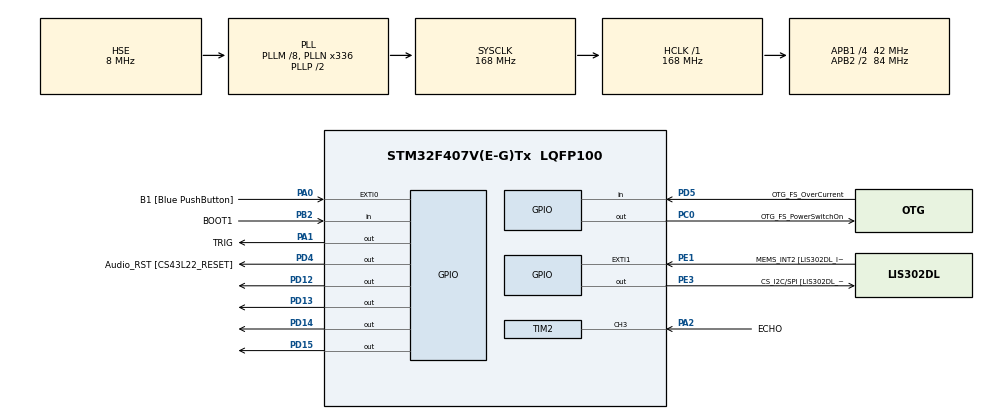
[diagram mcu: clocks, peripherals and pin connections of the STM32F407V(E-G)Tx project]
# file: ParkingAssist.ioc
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IWDG.Prescaler=IWDG_PRESCALER_32
IWDG.Reload=499
Mcu.Family=STM32F4
Mcu.Name=STM32F407V(E-G)Tx
Mcu.Package=LQFP100
NVIC.PriorityGroup=NVIC_PRIORITYGROUP_0
NVIC.TIM2_IRQn=true\:0\:0\:false\:false\:true\:true\:true\:true
PA0-WKUP.GPIO_Label=B1 [Blue PushButton]
PA0-WKUP.Signal=GPXTI0
PA1.GPIO_Label=TRIG
PA1.Signal=GPIO_Output
PA10.GPIO_Label=OTG_FS_ID
PA10.GPIO_Mode=GPIO_MODE_AF_PP
PA10.GPIO_PuPd=GPIO_NOPULL
PA10.GPIO_Speed=GPIO_SPEED_FREQ_LOW
PA10.Signal=USB_OTG_FS_ID
PA11.GPIO_Label=OTG_FS_DM
PA11.GPIO_Mode=GPIO_MODE_AF_PP
PA11.GPIO_PuPd=GPIO_NOPULL
PA11.GPIO_Speed=GPIO_SPEED_FREQ_LOW
PA11.Signal=USB_OTG_FS_DM
PA12.GPIO_Label=OTG_FS_DP
PA12.GPIO_Mode=GPIO_MODE_AF_PP
PA12.GPIO_PuPd=GPIO_NOPULL
PA12.GPIO_Speed=GPIO_SPEED_FREQ_LOW
PA12.Signal=USB_OTG_FS_DP
PA13.GPIO_Label=SWDIO
PA13.Signal=SYS_JTMS-SWDIO
PA14.GPIO_Label=SWCLK
PA14.Signal=SYS_JTCK-SWCLK
PA2.GPIO_Label=ECHO
PA2.Signal=S_TIM2_CH3
PA4.GPIO_Label=I2S3_WS [CS43L22_LRCK]
PA4.GPIO_Mode=GPIO_MODE_AF_PP
PA4.GPIO_PuPd=GPIO_NOPULL
PA4.GPIO_Speed=GPIO_SPEED_FREQ_LOW
PA4.Signal=I2S3_WS
PA5.GPIO_Label=SPI1_SCK [LIS302DL_SCL/SPC]
PA5.GPIO_Mode=GPIO_MODE_AF_PP
PA5.GPIO_PuPd=GPIO_NOPULL
PA5.GPIO_Speed=GPIO_SPEED_FREQ_LOW
PA5.Signal=SPI1_SCK
PA6.GPIO_Label=SPI1_MISO [LIS302DL_SDO]
PA6.GPIO_Mode=GPIO_MODE_AF_PP
PA6.GPIO_PuPd=GPIO_NOPULL
PA6.GPIO_Speed=GPIO_SPEED_FREQ_LOW
PA6.Signal=SPI1_MISO
PA7.GPIO_Label=SPI1_MOSI [LIS302DL_SDA/SDI/SDO]
PA7.GPIO_Mode=GPIO_MODE_AF_PP
PA7.GPIO_PuPd=GPIO_NOPULL
PA7.GPIO_Speed=GPIO_SPEED_FREQ_LOW
PA7.Signal=SPI1_MOSI
PA9.GPIO_Label=VBUS_FS
PA9.GPIO_Mode=GPIO_MODE_INPUT
PA9.GPIO_PuPd=GPIO_NOPULL
PA9.Signal=USB_OTG_FS_VBUS
PB10.GPIO_Label=CLK_IN [MP45DT02_CLK]
PB10.GPIO_Mode=GPIO_MODE_AF_PP
PB10.GPIO_PuPd=GPIO_NOPULL
PB10.GPIO_Speed=GPIO_SPEED_FREQ_LOW
PB10.Signal=I2S2_CK
PB2.GPIO_Label=BOOT1
PB2.GPIO_Mode=GPIO_MODE_INPUT
PB2.GPIO_PuPd=GPIO_NOPULL
PB2.Signal=GPIO_Input
PB3.Signal=SYS_JTDO-SWO
PB6.GPIO_Label=Audio_SCL [CS43L22_SCL]
PB6.GPIO_Mode=GPIO_MODE_AF_OD
PB6.GPIO_PuPd=GPIO_NOPULL
PB6.GPIO_Speed=GPIO_SPEED_FREQ_LOW
PB6.Signal=I2C1_SCL
PB9.GPIO_Label=Audio_SDA [CS43L22_SDA]
PB9.GPIO_Mode=GPIO_MODE_AF_OD
PB9.GPIO_PuPd=GPIO_NOPULL
PB9.GPIO_Speed=GPIO_SPEED_FREQ_LOW
PB9.Signal=I2C1_SDA
PC0.GPIO_Label=OTG_FS_PowerSwitchOn
PC0.GPIO_PuPd=GPIO_NOPULL
PC0.GPIO_Speed=GPIO_SPEED_FREQ_LOW
PC0.PinState=GPIO_PIN_SET
PC0.Signal=GPIO_Output
PC10.GPIO_Label=I2S3_SCK [CS43L22_SCLK]
PC10.GPIO_Mode=GPIO_MODE_AF_PP
PC10.GPIO_PuPd=GPIO_NOPULL
PC10.GPIO_Speed=GPIO_SPEED_FREQ_LOW
PC10.Signal=I2S3_CK
PC12.GPIO_Label=I2S3_SD [CS43L22_SDIN]
PC12.GPIO_Mode=GPIO_MODE_AF_PP
PC12.GPIO_PuPd=GPIO_NOPULL
PC12.GPIO_Speed=GPIO_SPEED_FREQ_LOW
PC12.Signal=I2S3_SD
PC14-OSC32_IN.GPIO_Label=PC14-OSC32_IN
PC14-OSC32_IN.Signal=RCC_OSC32_IN
PC15-OSC32_OUT.GPIO_Label=PC15-OSC32_OUT
PC15-OSC32_OUT.Signal=RCC_OSC32_OUT
PC3.GPIO_Label=PDM_OUT [MP45DT02_DOUT]
PC3.GPIO_Mode=GPIO_MODE_AF_PP
PC3.GPIO_PuPd=GPIO_NOPULL
PC3.GPIO_Speed=GPIO_SPEED_FREQ_LOW
PC3.Signal=I2S2_SD
PC7.GPIO_Label=I2S3_MCK [CS43L22_MCLK]
PC7.GPIO_Mode=GPIO_MODE_AF_PP
PC7.GPIO_PuPd=GPIO_NOPULL
PC7.GPIO_Speed=GPIO_SPEED_FREQ_LOW
PC7.Signal=I2S3_MCK
PD12.Signal=GPIO_Output
PD13.Signal=GPIO_Output
PD14.Signal=GPIO_Output
PD15.Signal=GPIO_Output
PD4.GPIO_Label=Audio_RST [CS43L22_RESET]
PD4.GPIO_PuPd=GPIO_NOPULL
PD4.GPIO_Speed=GPIO_SPEED_FREQ_LOW
PD4.Signal=GPIO_Output
PD5.GPIO_Label=OTG_FS_OverCurrent
PD5.GPIO_Mode=GPIO_MODE_INPUT
PD5.GPIO_PuPd=GPIO_NOPULL
PD5.Signal=GPIO_Input
PE1.GPIO_Label=MEMS_INT2 [LIS302DL_INT2]
PE1.GPIO_ModeDefaultEXTI=GPIO_MODE_EVT_RISING
PE1.GPIO_PuPd=GPIO_NOPULL
PE1.Signal=GPXTI1
PE3.GPIO_Label=CS_I2C/SPI [LIS302DL_CS_I2C/SPI]
PE3.GPIO_PuPd=GPIO_NOPULL
PE3.GPIO_Speed=GPIO_SPEED_FREQ_LOW
PE3.Signal=GPIO_Output
PH0-OSC_IN.GPIO_Label=PH0-OSC_IN
PH0-OSC_IN.Mode=HSE-External-Oscillator
PH0-OSC_IN.Signal=RCC_OSC_IN
PH1-OSC_OUT.GPIO_Label=PH1-OSC_OUT
PH1-OSC_OUT.Mode=HSE-External-Oscillator
PH1-OSC_OUT.Signal=RCC_OSC_OUT
ProjectManager.HeapSize=0x200
ProjectManager.StackSize=0x400
ProjectManager.TargetToolchain=STM32CubeIDE
RCC.48MHZClocksFreq_Value=48000000
RCC.AHBFreq_Value=168000000
RCC.APB1CLKDivider=RCC_HCLK_DIV4
RCC.APB1Freq_Value=42000000
RCC.APB1TimFreq_Value=84000000
RCC.APB2CLKDivider=RCC_HCLK_DIV2
RCC.APB2Freq_Value=84000000
RCC.APB2TimFreq_Value=168000000
RCC.CortexFreq_Value=168000000
RCC.HCLKFreq_Value=168000000
RCC.HSE_VALUE=8000000
RCC.HSI_VALUE=16000000
RCC.LSE_VALUE=32768
RCC.PLLM=8
RCC.PLLN=336
RCC.PLLQ=7
RCC.PLLSourceVirtual=RCC_PLLSOURCE_HSE
RCC.SYSCLKFreq_VALUE=168000000
RCC.SYSCLKSource=RCC_SYSCLKSOURCE_PLLCLK
RCC.VCOOutputFreq_Value=336000000
SH.S_TIM2_CH3.0=TIM2_CH3,Input_Capture3_from_TI3
TIM2.Channel-Input_Capture3_from_TI3=TIM_CHANNEL_3
TIM2.ICPolarity_CH3=TIM_INPUTCHANNELPOLARITY_BOTHEDGE
TIM2.Period=0xFFFFFFFF
TIM2.Prescaler=83
VP_IWDG_VS_IWDG.Mode=IWDG_Activate
VP_TIM2_VS_ClockSourceINT.Mode=Internal
board=STM32F407G-DISC1

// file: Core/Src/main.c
/* USER CODE BEGIN Header */
/**
 ******************************************************************************
 * @file           : main.c
 * @brief          : Main program body
 ******************************************************************************
 * @attention
 *
 * Copyright (c) 2026 STMicroelectronics.
 * All rights reserved.
 *
 * This software is licensed under terms that can be found in the LICENSE file
 * in the root directory of this software component.
 * If no LICENSE file comes with this software, it is provided AS-IS.
 *
 ******************************************************************************
 */
/* USER CODE END Header */
#include "main.h"

/* USER CODE BEGIN Includes */
#include <stdio.h>
#include "park_logic.h"
#include "leds.h"
#include "status.h"
#include "hcsr04_sensor.h"

/* USER CODE END Includes */

/* USER CODE BEGIN PD */

/* --- Main loop --- */
#define LOOP_DELAY_MS            (60U)

/* USER CODE END PD */

IWDG_HandleTypeDef hiwdg;

TIM_HandleTypeDef htim2;

void SystemClock_Config(void);
static void MX_GPIO_Init(void);
static void MX_TIM2_Init(void);
static void MX_IWDG_Init(void);

int main(void) {

	/* USER CODE BEGIN 1 */

	uint32_t distance_cm = 0U;
	ParkState raw_state = STATE_SAFE;
	ParkState state = STATE_SAFE;

	/* USER CODE END 1 */

	/* MCU Configuration--------------------------------------------------------*/

	/* Reset of all peripherals, Initializes the Flash interface and the Systick. */
	HAL_Init();

	/* USER CODE BEGIN Init */
	__HAL_DBGMCU_FREEZE_IWDG(); /* stop the watchdog while the debugger halts the CPU */

	/* USER CODE END Init */

	/* Configure the system clock */
	SystemClock_Config();

	/* Initialize all configured peripherals */
	MX_GPIO_Init();
	MX_TIM2_Init();
	MX_IWDG_Init();
	/* USER CODE BEGIN 2 */
#ifdef DEBUG
	if (__HAL_RCC_GET_FLAG(RCC_FLAG_IWDGRST) != 0U) {
		(void) printf("WARNING: reset by watchdog\r\n");
	}
#endif

	__HAL_RCC_CLEAR_RESET_FLAGS();

	if (hcsr04_init(&htim2) != HCSR04_OK) {
		Error_Handler();
	}
#ifdef DEBUG
	(void) printf("Parking sensor started\r\n");
#endif
	/* USER CODE END 2 */

	/* Infinite loop */
	while (1) {

		/* USER CODE BEGIN 3 */

		distance_cm = hcsr04_measure_cm();
		raw_state = park_distance_to_state(distance_cm);
		state = filter_state(raw_state);
		update_leds(state);
		print_status(state, distance_cm);

		(void) HAL_IWDG_Refresh(&hiwdg);
		HAL_Delay(LOOP_DELAY_MS);
	}

	/* USER CODE END 3 */
}

void SystemClock_Config(void) {
	RCC_OscInitTypeDef RCC_OscInitStruct = { 0 };
	RCC_ClkInitTypeDef RCC_ClkInitStruct = { 0 };

	/** Configure the main internal regulator output voltage
	 */
	__HAL_RCC_PWR_CLK_ENABLE();
	__HAL_PWR_VOLTAGESCALING_CONFIG(PWR_REGULATOR_VOLTAGE_SCALE1);

	/** Initializes the RCC Oscillators according to the specified parameters
	 * in the RCC_OscInitTypeDef structure.
	 */
	RCC_OscInitStruct.OscillatorType = RCC_OSCILLATORTYPE_LSI
			| RCC_OSCILLATORTYPE_HSE;
	RCC_OscInitStruct.HSEState = RCC_HSE_ON;
	RCC_OscInitStruct.LSIState = RCC_LSI_ON;
	RCC_OscInitStruct.PLL.PLLState = RCC_PLL_ON;
	RCC_OscInitStruct.PLL.PLLSource = RCC_PLLSOURCE_HSE;
	RCC_OscInitStruct.PLL.PLLM = 8;
	RCC_OscInitStruct.PLL.PLLN = 336;
	RCC_OscInitStruct.PLL.PLLP = RCC_PLLP_DIV2;
	RCC_OscInitStruct.PLL.PLLQ = 7;
	if (HAL_RCC_OscConfig(&RCC_OscInitStruct) != HAL_OK) {
		Error_Handler();
	}

	/** Initializes the CPU, AHB and APB buses clocks
	 */
	RCC_ClkInitStruct.ClockType = RCC_CLOCKTYPE_HCLK | RCC_CLOCKTYPE_SYSCLK
			| RCC_CLOCKTYPE_PCLK1 | RCC_CLOCKTYPE_PCLK2;
	RCC_ClkInitStruct.SYSCLKSource = RCC_SYSCLKSOURCE_PLLCLK;
	RCC_ClkInitStruct.AHBCLKDivider = RCC_SYSCLK_DIV1;
	RCC_ClkInitStruct.APB1CLKDivider = RCC_HCLK_DIV4;
	RCC_ClkInitStruct.APB2CLKDivider = RCC_HCLK_DIV2;

	if (HAL_RCC_ClockConfig(&RCC_ClkInitStruct, FLASH_LATENCY_5) != HAL_OK) {
		Error_Handler();
	}
}

static void MX_IWDG_Init(void) {

	hiwdg.Instance = IWDG;
	hiwdg.Init.Prescaler = IWDG_PRESCALER_32;
	hiwdg.Init.Reload = 499;
	if (HAL_IWDG_Init(&hiwdg) != HAL_OK) {
		Error_Handler();
	}

}

static void MX_TIM2_Init(void) {

	TIM_ClockConfigTypeDef sClockSourceConfig = { 0 };
	TIM_MasterConfigTypeDef sMasterConfig = { 0 };
	TIM_IC_InitTypeDef sConfigIC = { 0 };

	htim2.Instance = TIM2;
	htim2.Init.Prescaler = 83;
	htim2.Init.CounterMode = TIM_COUNTERMODE_UP;
	htim2.Init.Period = 0xFFFFFFFF;
	htim2.Init.ClockDivision = TIM_CLOCKDIVISION_DIV1;
	htim2.Init.AutoReloadPreload = TIM_AUTORELOAD_PRELOAD_DISABLE;
	if (HAL_TIM_Base_Init(&htim2) != HAL_OK) {
		Error_Handler();
	}
	sClockSourceConfig.ClockSource = TIM_CLOCKSOURCE_INTERNAL;
	if (HAL_TIM_ConfigClockSource(&htim2, &sClockSourceConfig) != HAL_OK) {
		Error_Handler();
	}
	if (HAL_TIM_IC_Init(&htim2) != HAL_OK) {
		Error_Handler();
	}
	sMasterConfig.MasterOutputTrigger = TIM_TRGO_RESET;
	sMasterConfig.MasterSlaveMode = TIM_MASTERSLAVEMODE_DISABLE;
	if (HAL_TIMEx_MasterConfigSynchronization(&htim2, &sMasterConfig)
			!= HAL_OK) {
		Error_Handler();
	}
	sConfigIC.ICPolarity = TIM_INPUTCHANNELPOLARITY_BOTHEDGE;
	sConfigIC.ICSelection = TIM_ICSELECTION_DIRECTTI;
	sConfigIC.ICPrescaler = TIM_ICPSC_DIV1;
	sConfigIC.ICFilter = 0;
	if (HAL_TIM_IC_ConfigChannel(&htim2, &sConfigIC, TIM_CHANNEL_3) != HAL_OK) {
		Error_Handler();
	}

}

static void MX_GPIO_Init(void) {
	GPIO_InitTypeDef GPIO_InitStruct = { 0 };

	/* GPIO Ports Clock Enable */
	__HAL_RCC_GPIOE_CLK_ENABLE();
	__HAL_RCC_GPIOC_CLK_ENABLE();
	__HAL_RCC_GPIOH_CLK_ENABLE();
	__HAL_RCC_GPIOA_CLK_ENABLE();
	__HAL_RCC_GPIOB_CLK_ENABLE();
	__HAL_RCC_GPIOD_CLK_ENABLE();

	/*Configure GPIO pin Output Level */
	HAL_GPIO_WritePin(CS_I2C_SPI_GPIO_Port, CS_I2C_SPI_Pin, GPIO_PIN_RESET);

	/*Configure GPIO pin Output Level */
	HAL_GPIO_WritePin(OTG_FS_PowerSwitchOn_GPIO_Port, OTG_FS_PowerSwitchOn_Pin,
			GPIO_PIN_SET);

	/*Configure GPIO pin Output Level */
	HAL_GPIO_WritePin(TRIG_GPIO_Port, TRIG_Pin, GPIO_PIN_RESET);

	/*Configure GPIO pin Output Level */
	HAL_GPIO_WritePin(GPIOD,
	GPIO_PIN_12 | GPIO_PIN_13 | GPIO_PIN_14 | GPIO_PIN_15 | Audio_RST_Pin,
			GPIO_PIN_RESET);

	/*Configure GPIO pin : CS_I2C_SPI_Pin */
	GPIO_InitStruct.Pin = CS_I2C_SPI_Pin;
	GPIO_InitStruct.Mode = GPIO_MODE_OUTPUT_PP;
	GPIO_InitStruct.Pull = GPIO_NOPULL;
	GPIO_InitStruct.Speed = GPIO_SPEED_FREQ_LOW;
	HAL_GPIO_Init(CS_I2C_SPI_GPIO_Port, &GPIO_InitStruct);

	/*Configure GPIO pin : OTG_FS_PowerSwitchOn_Pin */
	GPIO_InitStruct.Pin = OTG_FS_PowerSwitchOn_Pin;
	GPIO_InitStruct.Mode = GPIO_MODE_OUTPUT_PP;
	GPIO_InitStruct.Pull = GPIO_NOPULL;
	GPIO_InitStruct.Speed = GPIO_SPEED_FREQ_LOW;
	HAL_GPIO_Init(OTG_FS_PowerSwitchOn_GPIO_Port, &GPIO_InitStruct);

	/*Configure GPIO pin : PDM_OUT_Pin */
	GPIO_InitStruct.Pin = PDM_OUT_Pin;
	GPIO_InitStruct.Mode = GPIO_MODE_AF_PP;
	GPIO_InitStruct.Pull = GPIO_NOPULL;
	GPIO_InitStruct.Speed = GPIO_SPEED_FREQ_LOW;
	GPIO_InitStruct.Alternate = GPIO_AF5_SPI2;
	HAL_GPIO_Init(PDM_OUT_GPIO_Port, &GPIO_InitStruct);

	/*Configure GPIO pin : B1_Pin */
	GPIO_InitStruct.Pin = B1_Pin;
	GPIO_InitStruct.Mode = GPIO_MODE_IT_RISING;
	GPIO_InitStruct.Pull = GPIO_NOPULL;
	HAL_GPIO_Init(B1_GPIO_Port, &GPIO_InitStruct);

	/*Configure GPIO pin : TRIG_Pin */
	GPIO_InitStruct.Pin = TRIG_Pin;
	GPIO_InitStruct.Mode = GPIO_MODE_OUTPUT_PP;
	GPIO_InitStruct.Pull = GPIO_NOPULL;
	GPIO_InitStruct.Speed = GPIO_SPEED_FREQ_LOW;
	HAL_GPIO_Init(TRIG_GPIO_Port, &GPIO_InitStruct);

	/*Configure GPIO pin : I2S3_WS_Pin */
	GPIO_InitStruct.Pin = I2S3_WS_Pin;
	GPIO_InitStruct.Mode = GPIO_MODE_AF_PP;
	GPIO_InitStruct.Pull = GPIO_NOPULL;
	GPIO_InitStruct.Speed = GPIO_SPEED_FREQ_LOW;
	GPIO_InitStruct.Alternate = GPIO_AF6_SPI3;
	HAL_GPIO_Init(I2S3_WS_GPIO_Port, &GPIO_InitStruct);

	/*Configure GPIO pins : SPI1_SCK_Pin SPI1_MISO_Pin SPI1_MOSI_Pin */
	GPIO_InitStruct.Pin = SPI1_SCK_Pin | SPI1_MISO_Pin | SPI1_MOSI_Pin;
	GPIO_InitStruct.Mode = GPIO_MODE_AF_PP;
	GPIO_InitStruct.Pull = GPIO_NOPULL;
	GPIO_InitStruct.Speed = GPIO_SPEED_FREQ_LOW;
	GPIO_InitStruct.Alternate = GPIO_AF5_SPI1;
	HAL_GPIO_Init(GPIOA, &GPIO_InitStruct);

	/*Configure GPIO pin : BOOT1_Pin */
	GPIO_InitStruct.Pin = BOOT1_Pin;
	GPIO_InitStruct.Mode = GPIO_MODE_INPUT;
	GPIO_InitStruct.Pull = GPIO_NOPULL;
	HAL_GPIO_Init(BOOT1_GPIO_Port, &GPIO_InitStruct);

	/*Configure GPIO pin : CLK_IN_Pin */
	GPIO_InitStruct.Pin = CLK_IN_Pin;
	GPIO_InitStruct.Mode = GPIO_MODE_AF_PP;
	GPIO_InitStruct.Pull = GPIO_NOPULL;
	GPIO_InitStruct.Speed = GPIO_SPEED_FREQ_LOW;
	GPIO_InitStruct.Alternate = GPIO_AF5_SPI2;
	HAL_GPIO_Init(CLK_IN_GPIO_Port, &GPIO_InitStruct);

	/*Configure GPIO pins : PD12 PD13 PD14 PD15
	 Audio_RST_Pin */
	GPIO_InitStruct.Pin = GPIO_PIN_12 | GPIO_PIN_13 | GPIO_PIN_14 | GPIO_PIN_15
			| Audio_RST_Pin;
	GPIO_InitStruct.Mode = GPIO_MODE_OUTPUT_PP;
	GPIO_InitStruct.Pull = GPIO_NOPULL;
	GPIO_InitStruct.Speed = GPIO_SPEED_FREQ_LOW;
	HAL_GPIO_Init(GPIOD, &GPIO_InitStruct);

	/*Configure GPIO pins : I2S3_MCK_Pin I2S3_SCK_Pin I2S3_SD_Pin */
	GPIO_InitStruct.Pin = I2S3_MCK_Pin | I2S3_SCK_Pin | I2S3_SD_Pin;
	GPIO_InitStruct.Mode = GPIO_MODE_AF_PP;
	GPIO_InitStruct.Pull = GPIO_NOPULL;
	GPIO_InitStruct.Speed = GPIO_SPEED_FREQ_LOW;
	GPIO_InitStruct.Alternate = GPIO_AF6_SPI3;
	HAL_GPIO_Init(GPIOC, &GPIO_InitStruct);

	/*Configure GPIO pin : VBUS_FS_Pin */
	GPIO_InitStruct.Pin = VBUS_FS_Pin;
	GPIO_InitStruct.Mode = GPIO_MODE_INPUT;
	GPIO_InitStruct.Pull = GPIO_NOPULL;
	HAL_GPIO_Init(VBUS_FS_GPIO_Port, &GPIO_InitStruct);

	/*Configure GPIO pins : OTG_FS_ID_Pin OTG_FS_DM_Pin OTG_FS_DP_Pin */
	GPIO_InitStruct.Pin = OTG_FS_ID_Pin | OTG_FS_DM_Pin | OTG_FS_DP_Pin;
	GPIO_InitStruct.Mode = GPIO_MODE_AF_PP;
	GPIO_InitStruct.Pull = GPIO_NOPULL;
	GPIO_InitStruct.Speed = GPIO_SPEED_FREQ_LOW;
	GPIO_InitStruct.Alternate = GPIO_AF10_OTG_FS;
	HAL_GPIO_Init(GPIOA, &GPIO_InitStruct);

	/*Configure GPIO pin : OTG_FS_OverCurrent_Pin */
	GPIO_InitStruct.Pin = OTG_FS_OverCurrent_Pin;
	GPIO_InitStruct.Mode = GPIO_MODE_INPUT;
	GPIO_InitStruct.Pull = GPIO_NOPULL;
	HAL_GPIO_Init(OTG_FS_OverCurrent_GPIO_Port, &GPIO_InitStruct);

	/*Configure GPIO pins : Audio_SCL_Pin Audio_SDA_Pin */
	GPIO_InitStruct.Pin = Audio_SCL_Pin | Audio_SDA_Pin;
	GPIO_InitStruct.Mode = GPIO_MODE_AF_OD;
	GPIO_InitStruct.Pull = GPIO_NOPULL;
	GPIO_InitStruct.Speed = GPIO_SPEED_FREQ_LOW;
	GPIO_InitStruct.Alternate = GPIO_AF4_I2C1;
	HAL_GPIO_Init(GPIOB, &GPIO_InitStruct);

	/*Configure GPIO pin : MEMS_INT2_Pin */
	GPIO_InitStruct.Pin = MEMS_INT2_Pin;
	GPIO_InitStruct.Mode = GPIO_MODE_EVT_RISING;
	GPIO_InitStruct.Pull = GPIO_NOPULL;
	HAL_GPIO_Init(MEMS_INT2_GPIO_Port, &GPIO_InitStruct);

}

void Error_Handler(void) {
	/* USER CODE BEGIN Error_Handler_Debug */
	/* User can add his own implementation to report the HAL error return state */
	__disable_irq();
	leds_safe_state(); /* new line: all four LEDs on = error */
	while (1) {
	}
	/* USER CODE END Error_Handler_Debug */
}
